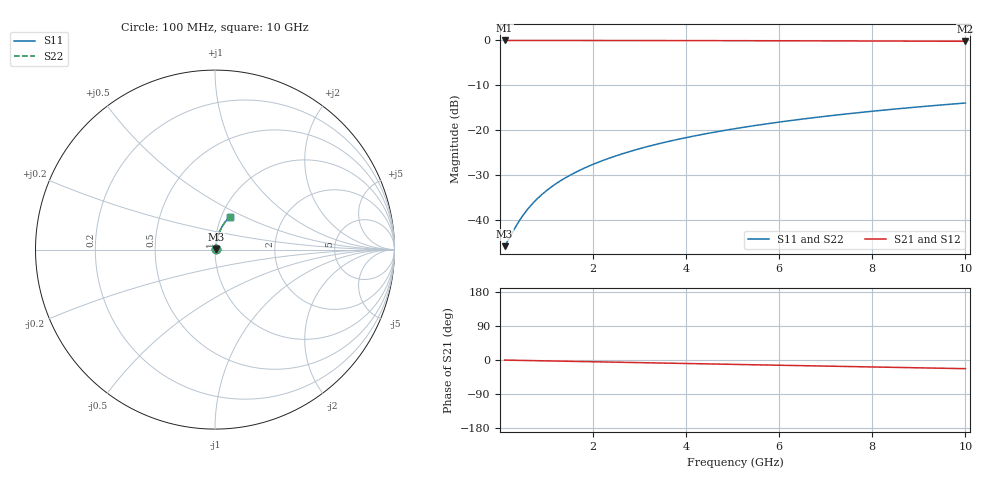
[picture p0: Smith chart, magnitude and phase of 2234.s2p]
# Hz S RI R 50.00
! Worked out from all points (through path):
!   100 points, 100 MHz to 10 GHz, reference 50 ohm
!   highest |S21| = -0.04 dB at 100 MHz (marker M1); lowest = -0.2 dB at 10 GHz (marker M2)
!   group delay of S21, straight-line fit = 6.36 ps
!   lowest |S11| = -45.7 dB at 100 MHz (marker M3), VSWR 1.01, Z = 50.5 + j0.209 ohm
!   |S11| at or under -10 dB: start of sweep to end of sweep
!   |S22| runs from -45.7 to -13.9 dB; largest |S21 - S12| = 0
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1e8  0.00474 0.00207  0.9953 -0.00401  0.9953 -0.00401  0.00474 0.00207
3e8  0.00486 0.00619  0.9951 -0.012  0.9951 -0.012  0.00486 0.00619
4e8  0.00494 0.00826  0.995 -0.016  0.995 -0.016  0.00494 0.00826
5e8  0.00503 0.0103  0.9949 -0.0201  0.9949 -0.0201  0.00503 0.0103
6e8  0.00514 0.0124  0.9948 -0.0241  0.9948 -0.0241  0.00514 0.0124
7e8  0.00526 0.0144  0.9946 -0.0281  0.9946 -0.0281  0.00526 0.0144
8e8  0.00539 0.0165  0.9945 -0.0321  0.9945 -0.0321  0.00539 0.0165
1e9  0.00571 0.0206  0.9941 -0.0401  0.9941 -0.0401  0.00571 0.0206
1.2e9  0.00609 0.0247  0.9936 -0.0481  0.9936 -0.0481  0.00609 0.0247
1.5e9  0.00679 0.0309  0.9928 -0.0601  0.9928 -0.0601  0.00679 0.0309
1.8e9  0.00763 0.037  0.9917 -0.0721  0.9917 -0.0721  0.00763 0.037
2.1e9  0.00862 0.0431  0.9905 -0.084  0.9905 -0.084  0.00862 0.0431
2.5e9  0.0102 0.0512  0.9886 -0.0999  0.9886 -0.0999  0.0102 0.0512
2.9e9  0.012 0.0593  0.9864 -0.1158  0.9864 -0.1158  0.012 0.0593
3.4e9  0.0146 0.0692  0.9832 -0.1355  0.9832 -0.1355  0.0146 0.0692
4.2e9  0.0196 0.0849  0.977 -0.1668  0.977 -0.1668  0.0196 0.0849
5.1e9  0.0263 0.102  0.9686 -0.2015  0.9686 -0.2015  0.0263 0.102
5.9e9  0.0334 0.1168  0.9598 -0.2319  0.9598 -0.2319  0.0334 0.1168
6.7e9  0.0413 0.131  0.9499 -0.2619  0.9499 -0.2619  0.0413 0.131
7.5e9  0.0501 0.1447  0.9389 -0.2912  0.9389 -0.2912  0.0501 0.1447
8.4e9  0.061 0.1593  0.9252 -0.3236  0.9252 -0.3236  0.061 0.1593
1e10  0.0827 0.1832  0.8977 -0.3789  0.8977 -0.3789  0.0827 0.1832
